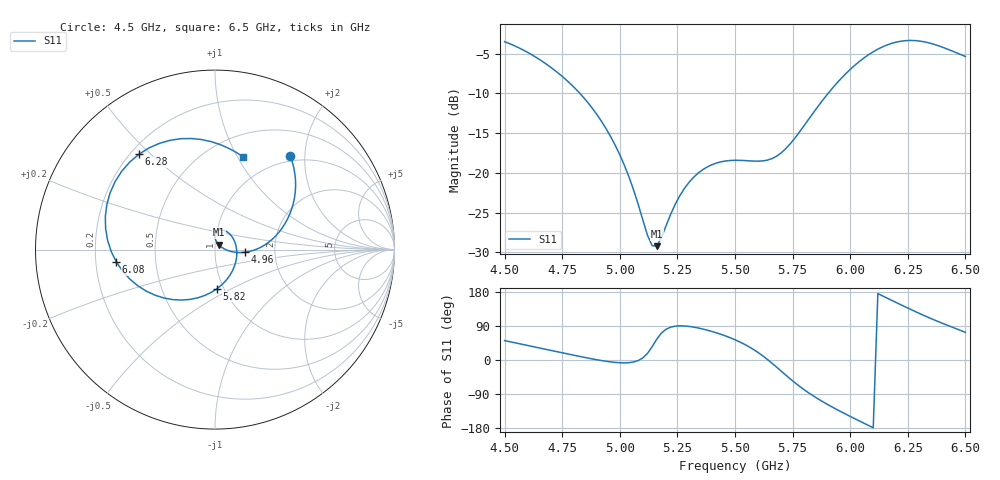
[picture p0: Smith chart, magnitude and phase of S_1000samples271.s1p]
! TOUCHSTONE file generated by CST MICROWAVE STUDIO
! Date and time: Thu Oct 27 14:20:22 2022
! Project name: L.cst
! Parameters = {Di=1.27; Epsilon_r=1.56; InnerDiameter=1.27; Length=2; Lf=10; Lg=60; OuterConductorThickness=0.2921; OuterDiameter=3.6; Wf=3; Wp=41.2; de=1.5; df=6.8; g=0.8; gx=0.922871; gy=1.41024; h=2.34; hf=1.524; px=11.1855; py=9.61308; w=9.7; wx=10.2627; wy=8.20284}
! Header version: 2018
! Port assignment regex: !\s*Touchstone port\s*([0-9]+)\s*=\s*(CST MWS port|CST DS port)\s*([0-9]+|Zmin|Zmax)\s*\(\"(.*)\"\)(\s*mode\s*([0-9]+))?.*
! Touchstone port assignment:
! Touchstone port 1 = CST MWS port 1 ("")
# GHz S DB R 50
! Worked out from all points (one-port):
!   101 points, 4.5 GHz to 6.5 GHz, reference 50 ohm
!   lowest |S11| = -29.2 dB at 5.16 GHz (marker M1), VSWR 1.07, Z = 52 + j2.93 ohm
!   |S11| at or under -10 dB: 4.827 GHz to 5.904 GHz (1.078 GHz wide, 20.1 % of centre)
!   S11 on the Smith chart (normalised r, x): 4.5 GHz: 0.91, +1.71; 4.96 GHz: 1.40, -0.04; 5.82 GHz: 0.93, -0.42; 6.08 GHz: 0.29, -0.06; 6.28 GHz: 0.23, +0.46; 6.5 GHz: 0.73, +1.06
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4.5  -3.49 51.1
4.62  -5.17 35.8
4.76  -8.12 17.8
4.86  -11.11 5.3
4.96  -15.43 -5.0
5  -17.73 -7.3
5.06  -22.17 -5.2
5.12  -27.85 17.3
5.14  -29.16 34.8
5.16  -29.24 54.6
5.26  -22.91 90.2
5.3  -21.22 88.7
5.36  -19.61 81.7
5.5  -18.43 53.4
5.66  -18.22 -8.1
5.76  -15.63 -59.9
5.82  -13.25 -86.8
5.92  -9.45 -123.5
6  -6.99 -148.8
6.08  -5.13 -172.9
6.14  -4.15 169.3
6.18  -3.71 157.5
6.26  -3.34 134.2
6.28  -3.36 128.6
6.32  -3.50 117.6
6.38  -3.98 101.9
6.44  -4.64 87.3
6.5  -5.36 72.9
